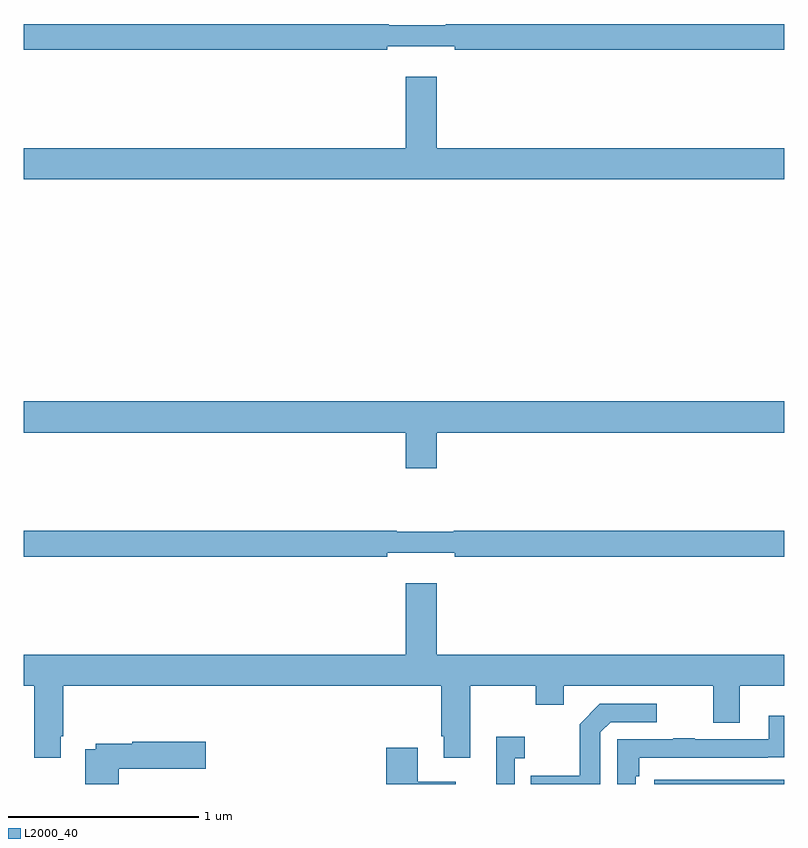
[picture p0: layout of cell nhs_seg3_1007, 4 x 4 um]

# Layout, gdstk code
import gdstk
lib = gdstk.Library(unit=1e-6, precision=1e-09)
def R(c, l, rs):  # rectangles x0, y0, x1, y1
    for r in rs: c.add(gdstk.rectangle(r[:2], r[2:], *l))
def P(c, l, *ps):  # polygons
    for p in ps: c.add(gdstk.Polygon(p, *l))
L2000_40 = (2000, 40)

nhs_seg3_1007 = lib.new_cell('nhs_seg3_1007')
R(nhs_seg3_1007, L2000_40, [(166.317,700.4,167,700.422)])
P(nhs_seg3_1007, L2000_40, [(164.912,704.279),(165.268,704.279),(165.268,704.26),(167,704.26),(167,704.396),(165.22,704.396),(165.22,704.389),(164.92,704.389),(164.92,704.396),(163,704.396),(163,704.26),(164.912,704.26)],
  [(167,703.744),(165.172,703.744),(165.172,704.119),(165.008,704.119),(165.008,703.744),(163,703.744),(163,703.58),(167,703.58)],
  [(165.172,702.248),(167,702.248),(167,702.412),(163,702.412),(163,702.248),(165.008,702.248),(165.008,702.06),(165.172,702.06)],
  [(164.912,701.615),(165.268,701.615),(165.268,701.596),(167,701.596),(167,701.732),(165.262,701.732),(165.262,701.725),(164.962,701.725),(164.962,701.732),(163,701.732),(163,701.596),(164.912,701.596)],
  [(163.195,700.651),(163.208,700.651),(163.208,700.916),(165.197,700.916),(165.197,700.651),(165.209,700.651),(165.209,700.539),(165.349,700.539),(165.349,700.916),(165.694,700.916),(165.694,700.817),(165.841,700.817),(165.841,700.916),(166.625,700.916),(166.625,700.722),(166.765,700.722),(166.765,700.916),(167,700.916),(167,701.08),(165.172,701.08),(165.172,701.455),(165.008,701.455),(165.008,701.08),(163,701.08),(163,700.916),(163.055,700.916),(163.055,700.539),(163.195,700.539)],
  [(166.032,700.671),(166.086,700.725),(166.33,700.725),(166.33,700.821),(166.029,700.821),(165.924,700.715),(165.924,700.443),(165.667,700.443),(165.667,700.4),(166.032,700.4)],
  [(166.218,700.442),(166.238,700.442),(166.238,700.539),(166.913,700.539),(166.913,700.54),(167,700.54),(167,700.759),(166.919,700.759),(166.919,700.635),(166.529,700.635),(166.529,700.64),(166.417,700.64),(166.417,700.635),(166.122,700.635),(166.122,700.4),(166.218,700.4)],
  [(165.582,700.535),(165.634,700.535),(165.634,700.648),(165.485,700.648),(165.485,700.4),(165.582,700.4)],
  [(163.499,700.481),(163.957,700.481),(163.957,700.623),(163.572,700.623),(163.572,700.611),(163.38,700.611),(163.38,700.582),(163.324,700.582),(163.324,700.4),(163.499,700.4)],
  [(165.271,700.411),(165.073,700.411),(165.073,700.591),(164.906,700.591),(164.906,700.4),(165.271,700.4)])

lib.write_gds('nhs_seg3_1007.gds')
